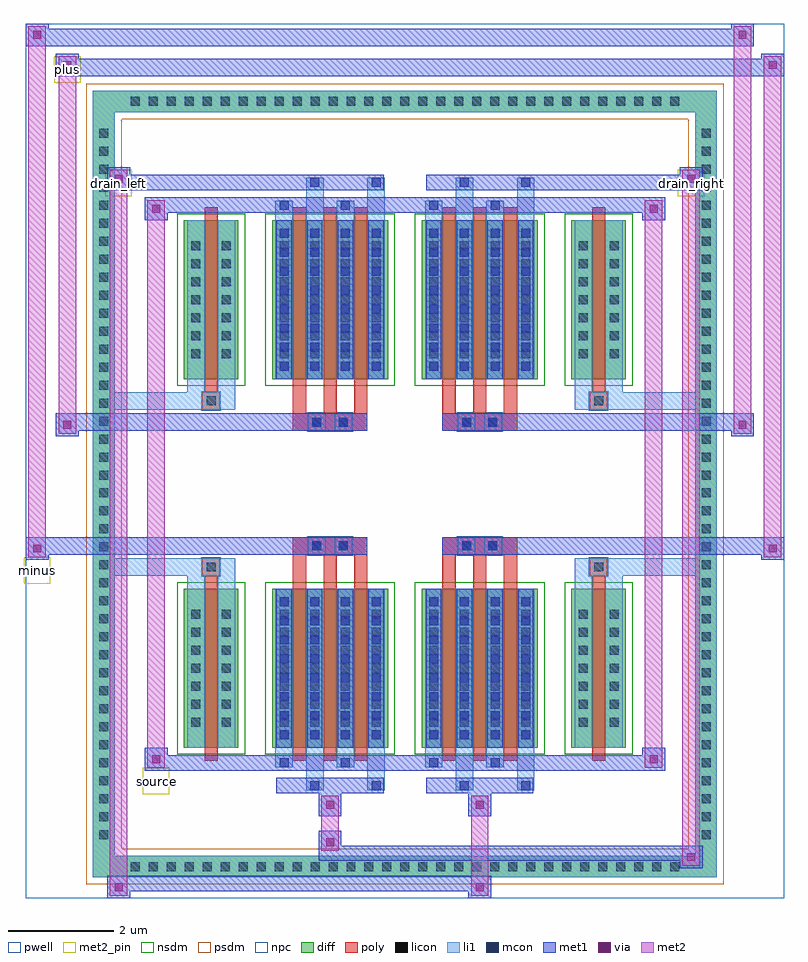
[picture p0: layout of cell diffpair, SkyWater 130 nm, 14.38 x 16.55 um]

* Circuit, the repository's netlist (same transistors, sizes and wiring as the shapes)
* NGSPICE file created from diffpair.ext - technology: sky130A

.subckt diffpair minus drain_right drain_left source plus
X0 source plus drain_left a_n1180_n1488# sky130_fd_pr__nfet_01v8 ad=0.495 pd=3.33 as=0.495 ps=3.33 w=3 l=0.25
X1 source minus drain_right a_n1180_n1488# sky130_fd_pr__nfet_01v8 ad=0.495 pd=3.33 as=0.495 ps=3.33 w=3 l=0.25
X2 a_n1180_n1488# a_n1180_n1488# a_n1180_n1488# a_n1180_n1488# sky130_fd_pr__nfet_01v8 ad=1.17 pd=6.78 as=9.36 ps=54.24 w=3 l=0.25
X3 drain_left plus source a_n1180_n1488# sky130_fd_pr__nfet_01v8 ad=1.17 pd=6.78 as=0.495 ps=3.33 w=3 l=0.25
X4 source plus drain_left a_n1180_n1488# sky130_fd_pr__nfet_01v8 ad=0.495 pd=3.33 as=0.495 ps=3.33 w=3 l=0.25
X5 drain_left plus source a_n1180_n1488# sky130_fd_pr__nfet_01v8 ad=0.495 pd=3.33 as=1.17 ps=6.78 w=3 l=0.25
X6 drain_left plus source a_n1180_n1488# sky130_fd_pr__nfet_01v8 ad=1.17 pd=6.78 as=0.495 ps=3.33 w=3 l=0.25
X7 drain_left plus source a_n1180_n1488# sky130_fd_pr__nfet_01v8 ad=0.495 pd=3.33 as=1.17 ps=6.78 w=3 l=0.25
X8 a_n1180_n1488# a_n1180_n1488# a_n1180_n1488# a_n1180_n1488# sky130_fd_pr__nfet_01v8 ad=1.17 pd=6.78 as=0 ps=0 w=3 l=0.25
X9 a_n1180_n1488# a_n1180_n1488# a_n1180_n1488# a_n1180_n1488# sky130_fd_pr__nfet_01v8 ad=1.17 pd=6.78 as=0 ps=0 w=3 l=0.25
X10 drain_right minus source a_n1180_n1488# sky130_fd_pr__nfet_01v8 ad=1.17 pd=6.78 as=0.495 ps=3.33 w=3 l=0.25
X11 drain_right minus source a_n1180_n1488# sky130_fd_pr__nfet_01v8 ad=0.495 pd=3.33 as=1.17 ps=6.78 w=3 l=0.25
X12 source minus drain_right a_n1180_n1488# sky130_fd_pr__nfet_01v8 ad=0.495 pd=3.33 as=0.495 ps=3.33 w=3 l=0.25
X13 drain_right minus source a_n1180_n1488# sky130_fd_pr__nfet_01v8 ad=0.495 pd=3.33 as=1.17 ps=6.78 w=3 l=0.25
X14 a_n1180_n1488# a_n1180_n1488# a_n1180_n1488# a_n1180_n1488# sky130_fd_pr__nfet_01v8 ad=1.17 pd=6.78 as=0 ps=0 w=3 l=0.25
X15 drain_right minus source a_n1180_n1488# sky130_fd_pr__nfet_01v8 ad=1.17 pd=6.78 as=0.495 ps=3.33 w=3 l=0.25
.ends

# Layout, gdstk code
import gdstk
lib = gdstk.Library(unit=1e-6, precision=5e-09)
def R(c, l, rs):  # rectangles x0, y0, x1, y1
    for r in rs: c.add(gdstk.rectangle(r[:2], r[2:], *l))
def A(c, l, x, y, w, h, nx, ny, dx, dy):  # array of equal rectangles
    R(c, l, [(x+i*dx, y+j*dy, x+i*dx+w, y+j*dy+h) for i in range(nx) for j in range(ny)])
def P(c, l, *ps):  # polygons
    for p in ps: c.add(gdstk.Polygon(p, *l))
pwell = (64, 44)
diff = (65, 20)
poly = (66, 20)
licon = (66, 44)
li1 = (67, 20)
mcon = (67, 44)
met1 = (68, 20)
via = (68, 44)
met2_pin = (69, 16)
met2 = (69, 20)
nsdm = (93, 44)
psdm = (94, 20)
npc = (95, 20)

diffpair = lib.new_cell('diffpair')
R(diffpair, pwell, [(-7.17,-7.84,7.17,8.71), (-4.49,-6.03,-0.01,-0.805), (0.01,-6.03,4.49,-0.805), (-4.49,0.805,-0.01,6.03), (0.01,0.805,4.49,6.03)])
A(diffpair, diff, -5.305, -7.44, 0.41, 0.41, 31, 2, 0.34, 14.47)
A(diffpair, diff, -5.9, -6.835, 0.41, 0.41, 1, 40, 0, 0.34)
A(diffpair, diff, 5.49, -6.835, 0.41, 0.41, 1, 40, 0, 0.34)
R(diffpair, diff, [(-5.305,-7.44,5.305,-7.03), (-5.9,-6.835,-5.49,6.835), (5.49,-6.835,5.9,6.835), (-4.18,-4.985,-3.15,-1.985), (-2.51,-4.985,-0.32,-1.985), (0.32,-4.985,2.51,-1.985), (3.15,-4.985,4.18,-1.985), (-4.18,1.985,-3.15,4.985), (-2.51,1.985,-0.32,4.985), (0.32,1.985,2.51,4.985), (3.15,1.985,4.18,4.985), (-5.305,7.03,5.305,7.44)])
P(diffpair, diff, [(5.9,7.44),(-5.9,7.44),(-5.9,-7.03),(-5.49,-7.03),(-5.49,7.03),(5.49,7.03),(5.49,-7.03),(-5.49,-7.03),(-5.9,-7.03),(-5.9,-7.44),(5.9,-7.44)])
A(diffpair, poly, -2.12, -5.235, 0.25, 3.5, 3, 2, 0.58, 6.97)
A(diffpair, poly, 0.71, -5.235, 0.25, 3.5, 3, 2, 0.58, 6.97)
A(diffpair, poly, -2.12, -1.735, 0.25, 0.4, 3, 2, 0.58, 3.07)
A(diffpair, poly, 0.71, -1.735, 0.25, 0.4, 3, 2, 0.58, 3.07)
R(diffpair, poly, [(-3.79,-5.235,-3.54,-1.735), (3.54,-5.235,3.79,-1.735), (-3.83,-1.735,-3.5,-1.405), (-3.83,-1.735,-3.5,-1.405), (3.5,-1.735,3.83,-1.405), (3.5,-1.735,3.83,-1.405), (-2.12,-1.335,-0.71,-1.005), (-1.83,-1.335,-1.5,-1.005), (-1.33,-1.335,-1,-1.005), (0.71,-1.335,2.12,-1.005), (1,-1.335,1.33,-1.005), (1.5,-1.335,1.83,-1.005), (-2.12,1.005,-0.71,1.335), (-1.83,1.005,-1.5,1.335), (-1.33,1.005,-1,1.335), (0.71,1.005,2.12,1.335), (1,1.005,1.33,1.335), (1.5,1.005,1.83,1.335), (-3.83,1.405,-3.5,1.735), (-3.83,1.405,-3.5,1.735), (3.5,1.405,3.83,1.735), (3.5,1.405,3.83,1.735), (-3.79,1.735,-3.54,5.235), (3.54,1.735,3.79,5.235)])
A(diffpair, licon, -5.185, -7.32, 0.17, 0.17, 31, 2, 0.34, 14.47)
A(diffpair, licon, -5.78, -6.715, 0.17, 0.17, 1, 40, 0, 0.34)
A(diffpair, licon, 5.61, -6.715, 0.17, 0.17, 1, 40, 0, 0.34)
A(diffpair, licon, -4.04, -4.59, 0.17, 0.17, 1, 7, 0, 0.34)
A(diffpair, licon, -3.46, -4.59, 0.17, 0.17, 1, 7, 0, 0.34)
A(diffpair, licon, -2.37, -4.59, 0.17, 0.17, 4, 7, 0.58, 0.34)
A(diffpair, licon, 0.46, -4.59, 0.17, 0.17, 4, 7, 0.58, 0.34)
A(diffpair, licon, 3.29, -4.59, 0.17, 0.17, 1, 7, 0, 0.34)
A(diffpair, licon, 3.87, -4.59, 0.17, 0.17, 1, 7, 0, 0.34)
A(diffpair, licon, -4.04, 2.38, 0.17, 0.17, 1, 7, 0, 0.34)
A(diffpair, licon, -3.46, 2.38, 0.17, 0.17, 1, 7, 0, 0.34)
A(diffpair, licon, -2.37, 2.38, 0.17, 0.17, 4, 7, 0.58, 0.34)
A(diffpair, licon, 0.46, 2.38, 0.17, 0.17, 4, 7, 0.58, 0.34)
A(diffpair, licon, 3.29, 2.38, 0.17, 0.17, 1, 7, 0, 0.34)
A(diffpair, licon, 3.87, 2.38, 0.17, 0.17, 1, 7, 0, 0.34)
R(diffpair, licon, [(-3.75,-1.655,-3.58,-1.485), (3.58,-1.655,3.75,-1.485), (-1.75,-1.255,-1.58,-1.085), (-1.25,-1.255,-1.08,-1.085), (1.08,-1.255,1.25,-1.085), (1.58,-1.255,1.75,-1.085), (-1.75,1.085,-1.58,1.255), (-1.25,1.085,-1.08,1.255), (1.08,1.085,1.25,1.255), (1.58,1.085,1.75,1.255), (-3.75,1.485,-3.58,1.655), (3.58,1.485,3.75,1.655)])
A(diffpair, li1, -5.265, -7.4, 0.33, 0.33, 31, 2, 0.34, 14.47)
A(diffpair, li1, -5.86, -6.795, 0.33, 0.33, 1, 40, 0, 0.34)
A(diffpair, li1, 5.53, -6.795, 0.33, 0.33, 1, 40, 0, 0.34)
A(diffpair, li1, -2.45, -4.985, 0.33, 3, 4, 2, 0.58, 6.97)
A(diffpair, li1, 0.38, -4.985, 0.33, 3, 4, 2, 0.58, 6.97)
A(diffpair, li1, -2.37, -4.83, 0.17, 0.17, 4, 8, 0.58, 0.36)
A(diffpair, li1, -2.37, -4.83, 0.17, 2.69, 4, 2, 0.58, 6.97)
A(diffpair, li1, 0.46, -4.83, 0.17, 0.17, 4, 8, 0.58, 0.36)
A(diffpair, li1, 0.46, -4.83, 0.17, 2.69, 4, 2, 0.58, 6.97)
A(diffpair, li1, -4.12, -4.67, 0.33, 0.33, 1, 7, 0, 0.34)
A(diffpair, li1, -3.54, -4.67, 0.33, 0.33, 1, 7, 0, 0.34)
A(diffpair, li1, -2.45, -4.67, 0.33, 0.33, 4, 7, 0.58, 0.34)
A(diffpair, li1, 0.38, -4.67, 0.33, 0.33, 4, 7, 0.58, 0.34)
A(diffpair, li1, 3.21, -4.67, 0.33, 0.33, 1, 7, 0, 0.34)
A(diffpair, li1, 3.79, -4.67, 0.33, 0.33, 1, 7, 0, 0.34)
A(diffpair, li1, -2.37, 2.14, 0.17, 0.17, 4, 8, 0.58, 0.36)
A(diffpair, li1, 0.46, 2.14, 0.17, 0.17, 4, 8, 0.58, 0.36)
A(diffpair, li1, -4.12, 2.3, 0.33, 0.33, 1, 7, 0, 0.34)
A(diffpair, li1, -3.54, 2.3, 0.33, 0.33, 1, 7, 0, 0.34)
A(diffpair, li1, -2.45, 2.3, 0.33, 0.33, 4, 7, 0.58, 0.34)
A(diffpair, li1, 0.38, 2.3, 0.33, 0.33, 4, 7, 0.58, 0.34)
A(diffpair, li1, 3.21, 2.3, 0.33, 0.33, 1, 7, 0, 0.34)
A(diffpair, li1, 3.79, 2.3, 0.33, 0.33, 1, 7, 0, 0.34)
R(diffpair, li1, [(-5.9,-7.44,-5.49,-7.03), (-5.9,-7.44,-5.49,-7.03), (-5.49,-7.44,5.49,-7.03), (5.49,-7.44,5.9,-7.03), (5.49,-7.44,5.9,-7.03), (-5.9,-7.03,-5.49,7.03), (5.49,-7.03,5.9,7.03), (-1.87,-5.79,-1.54,-4.985), (-1.79,-5.79,-1.62,-5.62), (-0.71,-5.79,-0.38,-4.985), (-0.63,-5.79,-0.46,-5.62), (0.96,-5.79,1.29,-4.985), (1.04,-5.79,1.21,-5.62), (2.12,-5.79,2.45,-4.985), (2.2,-5.79,2.37,-5.62), (-2.45,-5.36,-2.12,-4.985), (-2.37,-5.36,-2.2,-5.19), (-1.29,-5.36,-0.96,-4.985), (-1.21,-5.36,-1.04,-5.19), (0.38,-5.36,0.71,-4.985), (0.46,-5.36,0.63,-5.19), (1.54,-5.36,1.87,-4.985), (1.62,-5.36,1.79,-5.19), (-4.12,-4.985,-3.79,-1.985), (-3.54,-4.985,-3.21,-1.985), (3.21,-4.985,3.54,-1.985), (3.79,-4.985,4.12,-1.985), (-4.12,-1.985,-3.79,-1.405), (-3.54,-1.985,-3.21,-1.405), (3.21,-1.985,3.54,-1.405), (3.79,-1.985,4.12,-1.405), (-5.9,-1.735,-3.83,-1.405), (-4.12,-1.735,-3.83,-1.405), (-3.83,-1.735,-3.5,-1.405), (-3.5,-1.735,-3.21,-1.405), (3.21,-1.735,3.5,-1.405), (3.5,-1.735,3.83,-1.405), (3.5,-1.735,5.9,-1.405), (3.83,-1.735,4.12,-1.405), (-1.83,-1.335,-1.5,-1.005), (-1.33,-1.335,-1,-1.005), (1,-1.335,1.33,-1.005), (1.5,-1.335,1.83,-1.005), (-1.83,1.005,-1.5,1.335), (-1.33,1.005,-1,1.335), (1,1.005,1.33,1.335), (1.5,1.005,1.83,1.335), (-5.9,1.405,-3.83,1.735), (-4.12,1.405,-3.83,1.735), (-4.12,1.405,-3.79,1.985), (-3.83,1.405,-3.5,1.735), (-3.54,1.405,-3.21,1.985), (-3.5,1.405,-3.21,1.735), (3.21,1.405,3.5,1.735), (3.21,1.405,3.54,1.985), (3.5,1.405,3.83,1.735), (3.5,1.405,5.9,1.735), (3.79,1.405,4.12,1.985), (3.83,1.405,4.12,1.735), (-4.12,1.985,-3.79,4.985), (-3.54,1.985,-3.21,4.985), (3.21,1.985,3.54,4.985), (3.79,1.985,4.12,4.985), (-2.45,4.985,-2.12,5.36), (-1.87,4.985,-1.54,5.79), (-1.29,4.985,-0.96,5.36), (-0.71,4.985,-0.38,5.79), (0.38,4.985,0.71,5.36), (0.96,4.985,1.29,5.79), (1.54,4.985,1.87,5.36), (2.12,4.985,2.45,5.79), (-2.37,5.19,-2.2,5.36), (-1.21,5.19,-1.04,5.36), (0.46,5.19,0.63,5.36), (1.62,5.19,1.79,5.36), (-1.79,5.62,-1.62,5.79), (-0.63,5.62,-0.46,5.79), (1.04,5.62,1.21,5.79), (2.2,5.62,2.37,5.79), (-5.9,7.03,-5.49,7.44), (-5.9,7.03,-5.49,7.44), (-5.49,7.03,5.49,7.44), (5.49,7.03,5.9,7.44), (5.49,7.03,5.9,7.44)])
A(diffpair, mcon, -2.37, -4.83, 0.17, 0.17, 4, 8, 0.58, 0.36)
A(diffpair, mcon, 0.46, -4.83, 0.17, 0.17, 4, 8, 0.58, 0.36)
A(diffpair, mcon, -2.37, 2.14, 0.17, 0.17, 4, 8, 0.58, 0.36)
A(diffpair, mcon, 0.46, 2.14, 0.17, 0.17, 4, 8, 0.58, 0.36)
R(diffpair, mcon, [(-1.79,-5.79,-1.62,-5.62), (-0.63,-5.79,-0.46,-5.62), (1.04,-5.79,1.21,-5.62), (2.2,-5.79,2.37,-5.62), (-2.37,-5.36,-2.2,-5.19), (-1.21,-5.36,-1.04,-5.19), (0.46,-5.36,0.63,-5.19), (1.62,-5.36,1.79,-5.19), (-1.75,-1.255,-1.58,-1.085), (-1.25,-1.255,-1.08,-1.085), (1.08,-1.255,1.25,-1.085), (1.58,-1.255,1.75,-1.085), (-1.75,1.085,-1.58,1.255), (-1.25,1.085,-1.08,1.255), (1.08,1.085,1.25,1.255), (1.58,1.085,1.75,1.255), (-2.37,5.19,-2.2,5.36), (-1.21,5.19,-1.04,5.36), (0.46,5.19,0.63,5.36), (1.62,5.19,1.79,5.36), (-1.79,5.62,-1.62,5.79), (-0.63,5.62,-0.46,5.79), (1.04,5.62,1.21,5.79), (2.2,5.62,2.37,5.79)])
A(diffpair, met1, -2.43, -4.985, 0.29, 3, 4, 2, 0.58, 6.97)
A(diffpair, met1, 0.4, -4.985, 0.29, 3, 4, 2, 0.58, 6.97)
A(diffpair, met1, -2.43, -4.89, 0.29, 0.29, 4, 8, 0.58, 0.36)
A(diffpair, met1, 0.4, -4.89, 0.29, 0.29, 4, 8, 0.58, 0.36)
A(diffpair, met1, -2.43, 2.08, 0.29, 0.29, 4, 8, 0.58, 0.36)
A(diffpair, met1, 0.4, 2.08, 0.29, 0.29, 4, 8, 0.58, 0.36)
R(diffpair, met1, [(-5.63,-7.84,-5.2,-7.41), (1.2,-7.84,1.63,-7.41), (-5.63,-7.7,1.63,-7.41), (5.2,-7.27,5.63,-6.84), (-1.63,-7.13,5.63,-6.84), (-1.63,-6.99,-1.2,-6.56), (-1.63,-6.28,-1.2,-5.85), (1.2,-6.28,1.63,-5.85), (-2.43,-5.85,-0.4,-5.56), (-1.85,-5.85,-1.56,-5.56), (-0.69,-5.85,-0.4,-5.56), (0.4,-5.85,2.43,-5.56), (0.98,-5.85,1.27,-5.56), (2.14,-5.85,2.43,-5.56), (-4.92,-5.42,-4.49,-4.99), (-4.92,-5.42,-2.43,-5.13), (-2.43,-5.42,-2.14,-5.13), (-2.43,-5.42,-0.4,-5.13), (-1.27,-5.42,-0.98,-5.13), (-0.4,-5.42,0.4,-5.13), (0.4,-5.42,0.69,-5.13), (0.4,-5.42,2.43,-5.13), (1.56,-5.42,1.85,-5.13), (2.43,-5.42,4.92,-5.13), (4.49,-5.42,4.92,-4.99), (-7.17,-1.435,-6.74,-1.005), (6.74,-1.435,7.17,-1.005), (-7.17,-1.335,-0.71,-1.005), (-2.12,-1.335,-0.71,-1.005), (0.71,-1.335,2.12,-1.005), (0.71,-1.335,7.17,-1.005), (-1.81,-1.315,-1.52,-1.025), (-1.31,-1.315,-1.02,-1.025), (1.02,-1.315,1.31,-1.025), (1.52,-1.315,1.81,-1.025), (-6.6,0.905,-6.17,1.335), (6.17,0.905,6.6,1.335), (-6.6,1.005,-2.12,1.335), (-2.12,1.005,-0.71,1.335), (0.71,1.005,2.12,1.335), (2.12,1.005,6.6,1.335), (-1.81,1.025,-1.52,1.315), (-1.31,1.025,-1.02,1.315), (1.02,1.025,1.31,1.315), (1.52,1.025,1.81,1.315), (-4.92,4.99,-4.49,5.42), (4.49,4.99,4.92,5.42), (-4.92,5.13,-2.43,5.42), (-2.43,5.13,-2.14,5.42), (-2.43,5.13,-0.4,5.42), (-1.27,5.13,-0.98,5.42), (-0.4,5.13,0.4,5.42), (0.4,5.13,0.69,5.42), (0.4,5.13,2.43,5.42), (1.56,5.13,1.85,5.42), (2.43,5.13,4.92,5.42), (-5.63,5.56,-5.2,5.99), (-5.63,5.56,-2.43,5.85), (-2.43,5.56,-0.4,5.85), (-1.85,5.56,-1.56,5.85), (-0.69,5.56,-0.4,5.85), (0.4,5.56,2.43,5.85), (0.98,5.56,1.27,5.85), (2.14,5.56,2.43,5.85), (2.43,5.56,5.63,5.85), (5.2,5.56,5.63,5.99), (-6.6,7.71,-6.17,8.14), (-6.6,7.71,-4.49,8.04), (-4.49,7.71,4.49,8.04), (4.49,7.71,7.17,8.04), (6.74,7.71,7.17,8.14), (-7.17,8.28,-6.74,8.71), (-7.17,8.28,-4.49,8.61), (-4.49,8.28,4.49,8.61), (4.49,8.28,6.6,8.61), (6.17,8.28,6.6,8.71)])
R(diffpair, via, [(-5.49,-7.7,-5.34,-7.55), (1.34,-7.7,1.49,-7.55), (5.34,-7.13,5.49,-6.98), (-1.49,-6.85,-1.34,-6.7), (-1.49,-6.14,-1.34,-5.99), (1.34,-6.14,1.49,-5.99), (-4.78,-5.28,-4.63,-5.13), (4.63,-5.28,4.78,-5.13), (-7.03,-1.295,-6.88,-1.145), (6.88,-1.295,7.03,-1.145), (-6.46,1.045,-6.31,1.195), (6.31,1.045,6.46,1.195), (-4.78,5.13,-4.63,5.28), (4.63,5.13,4.78,5.28), (-5.49,5.7,-5.34,5.85), (5.34,5.7,5.49,5.85), (-6.46,7.85,-6.31,8), (6.88,7.85,7.03,8), (-7.03,8.42,-6.88,8.57), (6.31,8.42,6.46,8.57)])
R(diffpair, met2_pin, [(-4.955,-5.87,-4.455,-5.37), (-7.205,-1.885,-6.705,-1.385), (-5.665,5.44,-5.165,5.94), (5.165,5.44,5.665,5.94), (-6.635,7.59,-6.135,8.09)])
R(diffpair, met2, [(-5.58,-7.79,-5.25,-7.46), (-5.58,-7.79,-5.25,5.94), (1.25,-7.79,1.58,-7.46), (1.25,-7.46,1.58,-6.23), (5.25,-7.22,5.58,-6.89), (5.25,-7.22,5.58,5.94), (-1.58,-6.94,-1.25,-6.61), (-1.58,-6.61,-1.25,-6.23), (-1.58,-6.23,-1.25,-5.9), (1.25,-6.23,1.58,-5.9), (-4.87,-5.37,-4.54,-5.04), (-4.87,-5.37,-4.54,5.37), (4.54,-5.37,4.87,-5.04), (4.54,-5.37,4.87,5.37), (-7.12,-1.385,-6.79,-1.055), (-7.12,-1.385,-6.79,8.66), (6.79,-1.385,7.12,-1.055), (6.79,-1.385,7.12,8.09), (-6.55,0.955,-6.22,1.285), (-6.55,0.955,-6.22,8.09), (6.22,0.955,6.55,1.285), (6.22,0.955,6.55,8.66), (-4.87,5.04,-4.54,5.37), (4.54,5.04,4.87,5.37), (-5.58,5.61,-5.25,5.94), (5.25,5.61,5.58,5.94), (-6.55,7.76,-6.22,8.09), (6.79,7.76,7.12,8.09), (-7.12,8.33,-6.79,8.66), (6.22,8.33,6.55,8.66)])
P(diffpair, met2, [(7.12,-1.385),(7.12,-1.385),(7.12,-1.055),(7.12,-1.055)],
  [(7.12,7.76),(7.12,7.76),(7.12,8.09),(7.12,8.09)],
  [(-6.79,-1.385),(-6.79,-1.385),(-6.79,-1.055),(-6.79,-1.055)],
  [(-6.79,8.33),(-6.79,8.33),(-6.79,8.66),(-6.79,8.66)],
  [(6.55,0.955),(6.55,0.955),(6.55,1.285),(6.55,1.285)],
  [(6.55,8.33),(6.55,8.33),(6.55,8.66),(6.55,8.66)],
  [(-6.22,0.955),(-6.22,0.955),(-6.22,1.285),(-6.22,1.285)],
  [(-6.22,7.76),(-6.22,7.76),(-6.22,8.09),(-6.22,8.09)],
  [(-5.25,-7.79),(-5.25,-7.79),(-5.25,-7.46),(-5.25,-7.46)],
  [(-5.25,5.61),(-5.25,5.61),(-5.25,5.94),(-5.25,5.94)],
  [(5.58,-7.22),(5.58,-7.22),(5.58,-6.89),(5.58,-6.89)],
  [(5.58,5.61),(5.58,5.61),(5.58,5.94),(5.58,5.94)],
  [(-4.54,-5.37),(-4.54,-5.37),(-4.54,-5.04),(-4.54,-5.04)],
  [(-4.54,5.04),(-4.54,5.04),(-4.54,5.37),(-4.54,5.37)],
  [(4.87,-5.37),(4.87,-5.37),(4.87,-5.04),(4.87,-5.04)],
  [(4.87,5.04),(4.87,5.04),(4.87,5.37),(4.87,5.37)])
R(diffpair, nsdm, [(-4.31,-5.115,-3.02,-1.855), (-2.64,-5.115,-0.19,-1.855), (0.19,-5.115,2.64,-1.855), (3.02,-5.115,4.31,-1.855), (-4.31,1.855,-3.02,5.115), (-2.64,1.855,-0.19,5.115), (0.19,1.855,2.64,5.115), (3.02,1.855,4.31,5.115)])
P(diffpair, psdm, [(6.03,7.57),(-6.03,7.57),(-6.03,-6.9),(-5.36,-6.9),(-5.36,6.9),(5.36,6.9),(5.36,-6.9),(-5.36,-6.9),(-6.03,-6.9),(-6.03,-7.57),(6.03,-7.57)])
R(diffpair, npc, [(-3.85,-1.755,-3.48,-1.385), (3.48,-1.755,3.85,-1.385), (-1.85,-1.355,-1.48,-0.985), (-1.85,-1.355,-0.98,-0.985), (-1.85,-1.355,-0.98,-0.985), (-1.35,-1.355,-0.98,-0.985), (0.98,-1.355,1.35,-0.985), (0.98,-1.355,1.85,-0.985), (0.98,-1.355,1.85,-0.985), (1.48,-1.355,1.85,-0.985), (-1.85,0.985,-1.48,1.355), (-1.85,0.985,-0.98,1.355), (-1.85,0.985,-0.98,1.355), (-1.35,0.985,-0.98,1.355), (0.98,0.985,1.35,1.355), (0.98,0.985,1.85,1.355), (0.98,0.985,1.85,1.355), (1.48,0.985,1.85,1.355), (-3.85,1.385,-3.48,1.755), (3.48,1.385,3.85,1.755)])
diffpair.add(gdstk.Label('minus', (-6.955,-1.635), layer=69, texttype=5))
diffpair.add(gdstk.Label('drain_right', (5.415,5.69), layer=69, texttype=5))
diffpair.add(gdstk.Label('drain_left', (-5.415,5.69), layer=69, texttype=5))
diffpair.add(gdstk.Label('source', (-4.705,-5.62), layer=69, texttype=5))
diffpair.add(gdstk.Label('plus', (-6.385,7.84), layer=69, texttype=5))

lib.write_gds('diffpair.gds')
